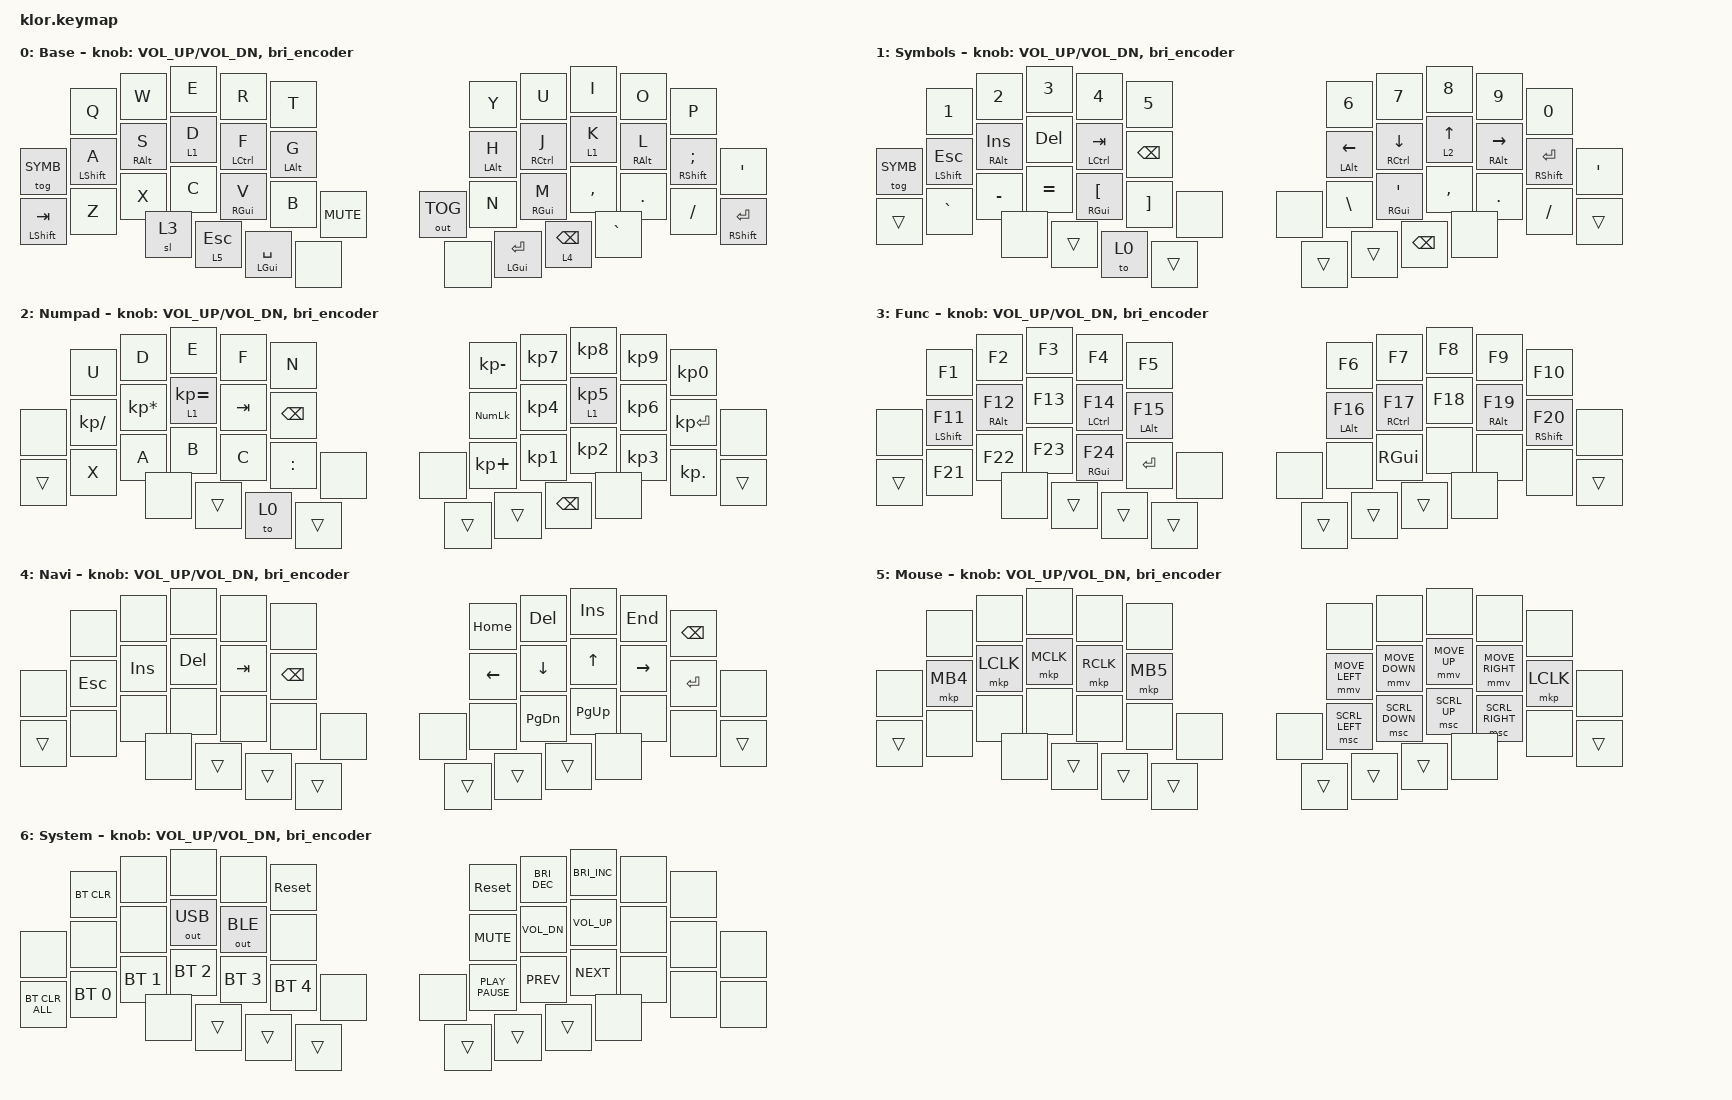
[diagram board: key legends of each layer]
#include <behaviors.dtsi>
#include <behaviors/brightness.dtsi>
#include <dt-bindings/zmk/bt.h>
#include <dt-bindings/zmk/keys.h>
#include <dt-bindings/zmk/outputs.h>
#include <dt-bindings/zmk/pointing.h>
#include <dt-bindings/zmk/ext_power.h>
#include <dt-bindings/zmk/rgb.h>

#define KEYS_L 0 1 2 3 4  10 11 12 13 14 15  22 23 24 25 26 27 28  36 37 38 39
#define KEYS_R 5 6 7 8 9  16 17 18 19 20 21  29 30 31 32 33 34 35  40 41 42 43
#define BASE  0
#define SYMB  1
#define NPAD  2
#define FUNC  3
#define NAVI  4
#define MOUS  5
#define SYST  6

&lt {
    tapping-term-ms = <175>;
    quick-tap-ms = <150>;
    flavor = "balanced";
};

/ {
    combos {
        compatible = "zmk,combos";

        combo_caps1 {
            timeout-ms = <100>;
            key-positions = <37 42>; // Combo `fn + compose`
            bindings = <&kp CAPSLOCK>;
        };

        combo_caps2 {
            timeout-ms = <100>;
            key-positions = <22 35>; // Combo `right-shift+left-shift`
            bindings = <&kp CAPSLOCK>;
        };

        combo_symbol {
            timeout-ms = <100>;
            key-positions = <38 41>; // Combo `thumb ESC + thumb Backspace`
            bindings = <&tog SYMB>;
        };

        combo_boot_left {
            timeout-ms = <100>;
            key-positions = <0 1 2 4>; // Combo `Q+W+E+T`
            bindings = <&bootloader>;
        };

        combo_boot_right {
            timeout-ms = <100>;
            key-positions = <5 7 8 9>; // Combo `Y+I+O+P`
            bindings = <&bootloader>;
        };

        combo_sys_left {
            timeout-ms = <100>;
            key-positions = <26 38>; // Combo `v+space`
            bindings = <&mo SYST>;
        };

        combo_sys_right {
            timeout-ms = <100>;
            key-positions = <31 41>; // Combo `m+enter`
            bindings = <&mo SYST>;
        };

        combo_sys_right_space {
            timeout-ms = <100>;
            key-positions = <31 38>; // Combo `m+space`
            bindings = <&mo SYST>;
        };
    };

    behaviors {
        hml: home_row_mod_left {
            compatible = "zmk,behavior-hold-tap";
            #binding-cells = <2>;
            flavor = "balanced";
            require-prior-idle-ms = <150>;
            tapping-term-ms = <280>;
            quick-tap-ms = <175>;
            bindings = <&kp>, <&kp>;
            hold-trigger-key-positions = <KEYS_R>;
            hold-trigger-on-release;
        };

        hmr: home_row_mod_right {
            compatible = "zmk,behavior-hold-tap";
            #binding-cells = <2>;
            flavor = "balanced";
            require-prior-idle-ms = <150>;
            tapping-term-ms = <280>;
            quick-tap-ms = <175>;
            bindings = <&kp>, <&kp>;
            hold-trigger-key-positions = <KEYS_L>;
            hold-trigger-on-release;
        };

        hml2: home_row_mod_left2 {
            compatible = "zmk,behavior-hold-tap";
            #binding-cells = <2>;
            flavor = "balanced";
            require-prior-idle-ms = <125>;
            tapping-term-ms = <175>;
            quick-tap-ms = <150>;
            bindings = <&mo>, <&kp>;
            hold-trigger-key-positions = <KEYS_R>;
            hold-trigger-on-release;
        };

        hmr2: home_row_mod_right2 {
            compatible = "zmk,behavior-hold-tap";
            #binding-cells = <2>;
            flavor = "balanced";
            require-prior-idle-ms = <125>;
            tapping-term-ms = <175>;
            quick-tap-ms = <150>;
            bindings = <&mo>, <&kp>;
            hold-trigger-key-positions = <KEYS_L>;
            hold-trigger-on-release;
        };

        Compose1ToNumpad: Compose1ToNumpad {
            compatible = "zmk,behavior-tap-dance";
            label = "Compose1ToNumpad";
            #binding-cells = <0>;
            bindings = <&kp K_APP>, <&tog 2>;
            tapping-term-ms = <230>;
        };

        bri_encoder: bri_encoder {
            compatible = "zmk,behavior-sensor-rotate";
            #sensor-binding-cells = <0>;
            bindings = <&inc_bri>, <&dec_bri>;
        };
    };

    keymap {
        compatible = "zmk,keymap";

        base_layer {
            label = "BASE";
            display-name = "Base";
            bindings = <
                 &kp Q          &kp W             &kp E      &kp R         &kp T                        &kp Y            &kp U              &kp I              &kp O             &kp P
&tog SYMB        &hml LSHIFT A  &hml RIGHT_ALT S  &hml2 1 D  &hml LCTRL F  &hml LEFT_ALT G              &hmr LEFT_ALT H  &hmr RCTRL J       &hmr2 1 K          &hmr RIGHT_ALT L  &hmr RSHIFT SEMICOLON  &kp SQT
&hml LSHIFT TAB  &kp Z          &kp X             &kp C      &hml RGUI V   &kp B            &kp C_MUTE  &out OUT_TOG     &kp N              &hmr RGUI M        &kp COMMA         &kp DOT                &kp SLASH &hmr RSHFT ENTER
                                                  &sl 3      &lt 5 ESC     &hmr LGUI SPACE  &none       &none            &hmr LGUI ENTER    &hmr2 4 BACKSPACE  &kp GRAVE   
            >;
            sensor-bindings = <&inc_dec_kp C_VOL_UP C_VOL_DN &bri_encoder>;
        };

        symbols {
            label = "SYMB";
            display-name = "Symbols";
            bindings = <
            &kp NUMBER_1       &kp NUMBER_2        &kp NUMBER_3    &kp NUMBER_4            &kp N5                     &kp NUMBER_6        &kp N7                  &kp N8      &kp N9                &kp N0
&tog SYMB   &hml LSHFT ESCAPE  &hml RIGHT_ALT INS  &kp DELETE      &hml LCTRL TAB          &kp BACKSPACE              &hmr LEFT_ALT LEFT  &hmr RCTRL DOWN         &hmr2 2 UP  &hmr RIGHT_ALT RIGHT  &hmr RSHFT ENTER  &kp SQT
&trans      &kp GRAVE          &kp MINUS           &kp EQUAL       &hml RGUI LEFT_BRACKET  &kp RIGHT_BRACKET  &none   &none               &kp BACKSLASH           &hmr RGUI SINGLE_QUOTE  &kp COMMA   &kp PERIOD            &kp SLASH         &trans
                                                   &none           &trans                  &to 0              &trans                      &trans                  &trans                  &kp BACKSPACE &none
            >;
            sensor-bindings = <&inc_dec_kp C_VOL_UP C_VOL_DN &bri_encoder>;
        };

        numpad {
            label = "NPAD";
            display-name = "Numpad";
            bindings = <
            &kp U          &kp D            &kp E             &kp F    &kp N            &kp KP_SUBTRACT  &kp KP_NUMBER_7  &kp KP_NUMBER_8      &kp KP_NUMBER_9  &kp KP_N0
&none       &kp KP_DIVIDE  &kp KP_MULTIPLY  &hml2 1 KP_EQUAL  &kp TAB  &kp BACKSPACE    &kp KP_NUMLOCK   &kp KP_NUMBER_4  &hml2 1 KP_NUMBER_5  &kp KP_NUMBER_6  &kp KP_ENTER  &none
&trans      &kp X          &kp A            &kp B             &kp C    &kp COLON   &none &none            &kp KP_PLUS      &kp KP_NUMBER_1  &kp KP_NUMBER_2      &kp KP_NUMBER_3  &kp KP_DOT    &trans
                                            &none             &trans   &to 0       &trans                 &trans           &trans           &kp BACKSPACE &none
            >;
            sensor-bindings = <&inc_dec_kp C_VOL_UP C_VOL_DN &bri_encoder>;
        };

        func {
            label = "FUNC";
            display-name = "Func";
            bindings = <
            &kp F1           &kp F2              &kp F3   &kp F4          &kp F5               &kp F6             &kp F7          &kp F8   &kp F9              &kp F10
&none       &hml LSHIFT F11  &hml RIGHT_ALT F12  &kp F13  &hml LCTRL F14  &hml LEFT_ALT F15    &hmr LEFT_ALT F16  &hmr RCTRL F17  &kp F18  &hmr RIGHT_ALT F19  &hmr RSHIFT F20  &none
&trans      &kp F21          &kp F22             &kp F23  &hml RGUI F24   &kp ENTER   &none    &none              &none           &kp RGUI        &none    &none               &none            &trans
                                                 &none    &trans          &trans      &trans                      &trans          &trans          &trans   &none
            >;
            sensor-bindings = <&inc_dec_kp C_VOL_UP C_VOL_DN &bri_encoder>;
        };

        navigation {
            label = "NAVI";
            display-name = "Navi";
            bindings = <
            &none       &none    &none    &none    &none            &kp HOME  &kp DEL        &kp INS    &kp END    &kp BACKSPACE
&none       &kp ESCAPE  &kp INS  &kp DEL  &kp TAB  &kp BACKSPACE    &kp LEFT  &kp DOWN       &kp UP     &kp RIGHT  &kp ENTER  &none
&trans      &none       &none    &none    &none    &none    &none   &none     &none          &kp PAGE_DOWN  &kp PG_UP  &none      &none          &trans
                                 &none    &trans   &trans   &trans            &trans         &trans         &trans     &none
            >;
            sensor-bindings = <&inc_dec_kp C_VOL_UP C_VOL_DN &bri_encoder>;
        };

        mouse {
            label = "MOUS";
            display-name = "Mouse";
            bindings = <
            &none     &none      &none      &none      &none       &none           &none           &none         &none            &none
&none       &mkp MB4  &mkp LCLK  &mkp MCLK  &mkp RCLK  &mkp MB5    &mmv MOVE_LEFT  &mmv MOVE_DOWN  &mmv MOVE_UP  &mmv MOVE_RIGHT  &mkp LCLK  &none
&trans      &none     &none      &none      &none      &none   &none &none           &msc SCRL_LEFT  &msc SCRL_DOWN  &msc SCRL_UP  &msc SCRL_RIGHT  &none      &trans
                                 &none      &trans     &trans  &trans                &trans          &trans          &trans        &none
            >;
            sensor-bindings = <&inc_dec_kp C_VOL_UP C_VOL_DN &bri_encoder>;
        };

        system {
            label = "SYST";
            display-name = "System";
            bindings = <
            &bt BT_CLR    &none         &none         &none         &sys_reset      &sys_reset        &kp C_BRIGHTNESS_DEC  &kp C_BRIGHTNESS_INC  &none  &none
&none       &none         &none         &out OUT_USB  &out OUT_BLE  &none           &kp C_MUTE        &kp C_VOL_DN          &kp C_VOL_UP          &none  &none  &none
&bt BT_CLR_ALL  &bt BT_SEL 0  &bt BT_SEL 1  &bt BT_SEL 2  &bt BT_SEL 3  &bt BT_SEL 4  &none &none         &kp K_PLAY_PAUSE  &kp K_PREV            &kp C_NEXT            &none  &none  &none
                                        &none         &trans        &trans        &trans              &trans                &trans                &trans &none
            >;
            sensor-bindings = <&inc_dec_kp C_VOL_UP C_VOL_DN &bri_encoder>;
        };
    };
};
